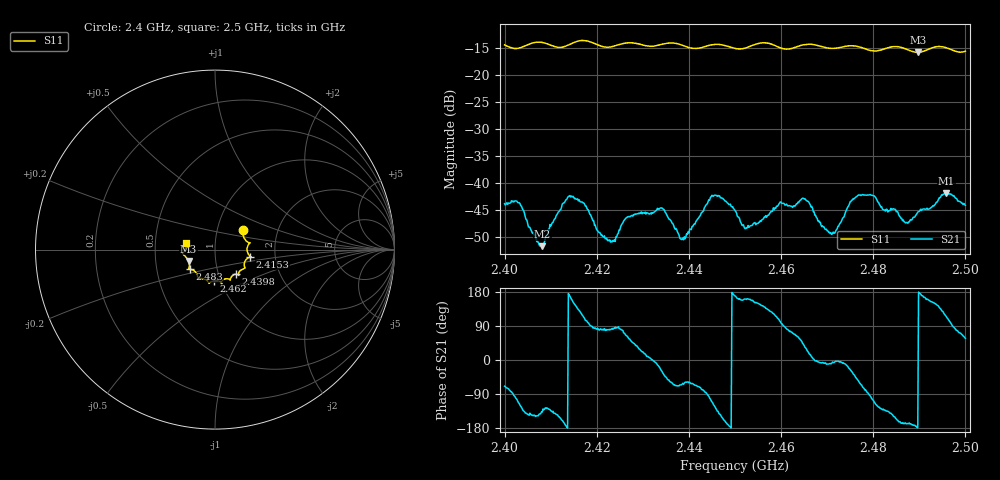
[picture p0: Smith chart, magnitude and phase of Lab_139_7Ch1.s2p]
# Hz S RI R 50
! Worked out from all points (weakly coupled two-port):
!   601 points, 2.4 GHz to 2.5 GHz, reference 50 ohm
!   highest |S21| = -42.01 dB at 2.4958 GHz (marker M1); lowest = -51.8 dB at 2.4082 GHz (marker M2)
!   lowest |S11| = -15.9 dB at 2.4897 GHz (marker M3), VSWR 1.38, Z = 36.9 - j4.81 ohm
!   |S11| at or under -10 dB: start of sweep to end of sweep
!   S12 and S22 are empty: the file has one direction only
!   S11 on the Smith chart (normalised r, x): 2.4 GHz: 1.33, +0.29; 2.4153 GHz: 1.48, -0.12; 2.4398 GHz: 1.21, -0.34; 2.462 GHz: 0.93, -0.33; 2.483 GHz: 0.74, -0.17; 2.5 GHz: 0.72, +0.06
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2.4e9  0.1551 0.1066  0.00228 -0.00596  0 0  0 0
2.403167e9  0.1666 0.0571  -0.00273 -0.00591  0 0  0 0
2.408167e9  0.1947 0.0375  -0.00189 -0.00175  0 0  0 0
2.413e9  0.181 -0.0148  -0.00639 -0.0014  0 0  0 0
2.415333e9  0.1965 -0.0385  -0.00583 0.00413  0 0  0 0
2.416667e9  0.2023 -0.0426  -0.00352 0.00561  0 0  0 0
2.422833e9  0.1639 -0.0742  0.000469 0.00291  0 0  0 0
2.4265e9  0.1678 -0.1017  0.0021 0.00424  0 0  0 0
2.433333e9  0.1312 -0.1334  0.00551 -0.00145  0 0  0 0
2.439833e9  0.1152 -0.1365  0.00186 -0.00298  0 0  0 0
2.445167e9  0.0847 -0.1692  -0.00297 -0.0069  0 0  0 0
2.45e9  0.0646 -0.1625  -0.00544 0.00105  0 0  0 0
2.4525e9  0.0409 -0.1727  -0.0036 0.00132  0 0  0 0
2.462e9  -0.00529 -0.1732  0.00149 0.00589  0 0  0 0
2.466667e9  -0.0342 -0.1875  0.00596 0.000825  0 0  0 0
2.471167e9  -0.0604 -0.1642  0.00337 -0.00031  0 0  0 0
2.476667e9  -0.0955 -0.155  0.00457 -0.00608  0 0  0 0
2.483e9  -0.1378 -0.1097  -0.00397 -0.00402  0 0  0 0
2.483333e9  -0.1402 -0.1096  -0.004 -0.00376  0 0  0 0
2.489667e9  -0.1473 -0.0635  -0.00533 -0.000122  0 0  0 0
2.495833e9  -0.1765 -0.0162  -0.00335 0.00719  0 0  0 0
2.5e9  -0.1598 0.0392  0.00333 0.00517  0 0  0 0
